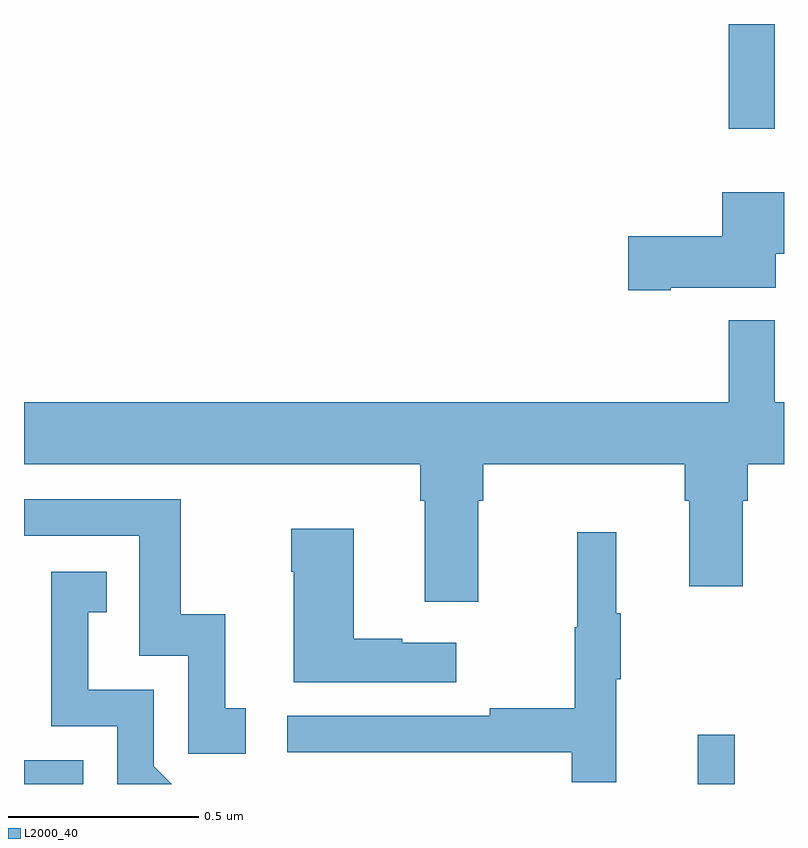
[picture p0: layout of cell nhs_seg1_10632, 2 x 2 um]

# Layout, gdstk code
import gdstk
lib = gdstk.Library(unit=1e-6, precision=1e-09)
def R(c, l, rs):  # rectangles x0, y0, x1, y1
    for r in rs: c.add(gdstk.rectangle(r[:2], r[2:], *l))
def P(c, l, *ps):  # polygons
    for p in ps: c.add(gdstk.Polygon(p, *l))
L2000_40 = (2000, 40)

nhs_seg1_10632 = lib.new_cell('nhs_seg1_10632')
R(nhs_seg1_10632, L2000_40, [(243,576.199,243.156,576.261), (244.773,576.199,244.87,576.328), (244.854,577.923,244.975,578.199)])
P(nhs_seg1_10632, L2000_40, [(244.702,577.505),(244.978,577.505),(244.978,577.595),(245,577.595),(245,577.756),(244.838,577.756),(244.838,577.64),(244.59,577.64),(244.59,577.498),(244.702,577.498)],
  [(244.195,576.944),(244.208,576.944),(244.208,577.04),(244.739,577.04),(244.739,576.944),(244.751,576.944),(244.751,576.72),(244.891,576.72),(244.891,576.944),(244.904,576.944),(244.904,577.04),(245,577.04),(245,577.204),(244.975,577.204),(244.975,577.42),(244.854,577.42),(244.854,577.204),(243,577.204),(243,577.04),(244.043,577.04),(244.043,576.944),(244.055,576.944),(244.055,576.678),(244.195,576.678)],
  [(243.583,576.399),(243.53,576.399),(243.53,576.646),(243.412,576.646),(243.412,576.948),(243,576.948),(243,576.852),(243.303,576.852),(243.303,576.537),(243.432,576.537),(243.432,576.279),(243.583,576.279)],
  [(244.138,576.571),(243.995,576.571),(243.995,576.581),(243.868,576.581),(243.868,576.871),(243.703,576.871),(243.703,576.758),(243.71,576.758),(243.71,576.467),(244.138,576.467)],
  [(244.559,576.475),(244.57,576.475),(244.57,576.649),(244.559,576.649),(244.559,576.862),(244.456,576.862),(244.456,576.612),(244.449,576.612),(244.449,576.398),(244.225,576.398),(244.225,576.378),(243.693,576.378),(243.693,576.282),(244.441,576.282),(244.441,576.204),(244.559,576.204)],
  [(243.342,576.246),(243.342,576.447),(243.169,576.447),(243.169,576.651),(243.218,576.651),(243.218,576.757),(243.072,576.757),(243.072,576.351),(243.246,576.351),(243.246,576.199),(243.389,576.199)])

lib.write_gds('nhs_seg1_10632.gds')
